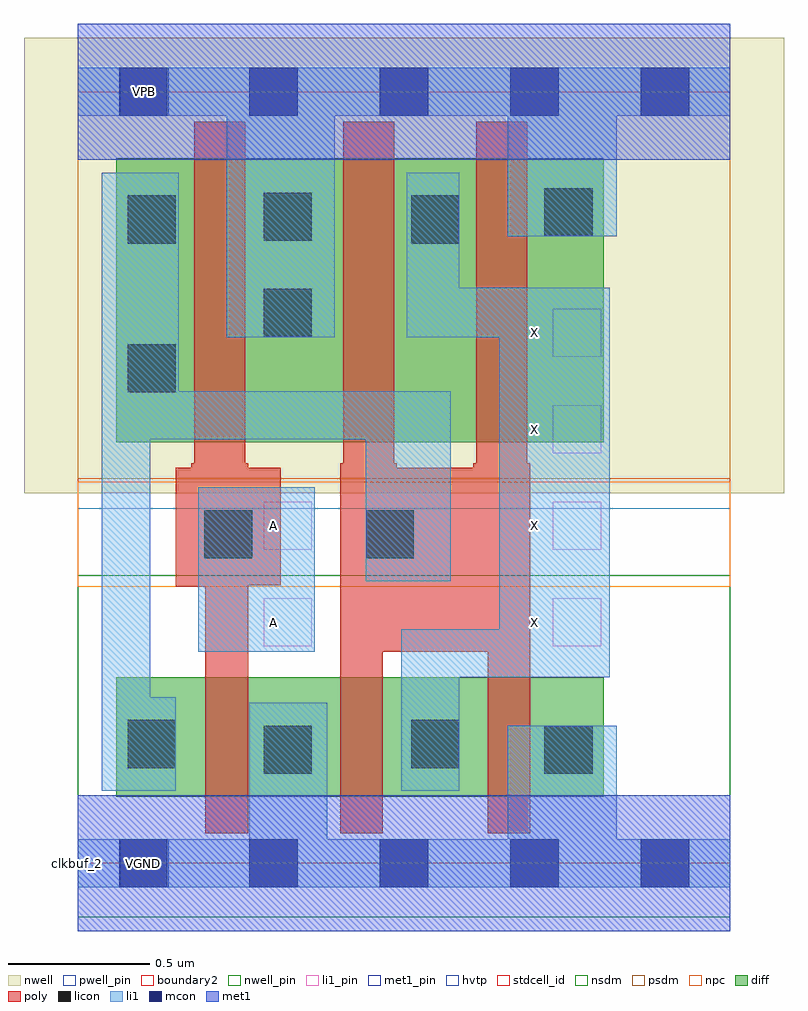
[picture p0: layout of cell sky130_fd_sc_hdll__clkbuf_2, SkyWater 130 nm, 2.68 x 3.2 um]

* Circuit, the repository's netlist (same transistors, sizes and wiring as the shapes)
* Copyright 2020 The SkyWater PDK Authors
*
* Licensed under the Apache License, Version 2.0 (the "License");
* you may not use this file except in compliance with the License.
* You may obtain a copy of the License at
*
*     https://www.apache.org/licenses/LICENSE-2.0
*
* Unless required by applicable law or agreed to in writing, software
* distributed under the License is distributed on an "AS IS" BASIS,
* WITHOUT WARRANTIES OR CONDITIONS OF ANY KIND, either express or implied.
* See the License for the specific language governing permissions and
* limitations under the License.
*
* SPDX-License-Identifier: Apache-2.0

.SUBCKT sky130_fd_sc_hdll__clkbuf_2 A VGND VNB VPB VPWR X
*.PININFO A:I VGND:I VNB:I VPB:I VPWR:I X:O
MMIN0 Ab A VGND VNB sky130_fd_pr__nfet_01v8 m=1 w=0.42U l=0.15U mult=1 sa=0.265
+ sb=0.265 sd=0.28 area=0.063 perim=1.14
MMIN1 X Ab VGND VNB sky130_fd_pr__nfet_01v8 m=2 w=0.42U l=0.15U mult=1 sa=0.265
+ sb=0.265 sd=0.28 area=0.063 perim=1.14
MMIP0 Ab A VPWR VPB sky130_fd_pr__pfet_01v8_hvt m=1 w=1.0U l=0.18U mult=1 sa=0.265
+ sb=0.265 sd=0.28 area=0.063 perim=1.14
MMIP1 X Ab VPWR VPB sky130_fd_pr__pfet_01v8_hvt m=2 w=1.0U l=0.18U mult=1 sa=0.265
+ sb=0.265 sd=0.28 area=0.063 perim=1.14
.ENDS sky130_fd_sc_hdll__clkbuf_2

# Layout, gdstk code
import gdstk
lib = gdstk.Library(unit=1e-6, precision=1e-09)
def R(c, l, rs):  # rectangles x0, y0, x1, y1
    for r in rs: c.add(gdstk.rectangle(r[:2], r[2:], *l))
def A(c, l, x, y, w, h, nx, ny, dx, dy):  # array of equal rectangles
    R(c, l, [(x+i*dx, y+j*dy, x+i*dx+w, y+j*dy+h) for i in range(nx) for j in range(ny)])
def P(c, l, *ps):  # polygons
    for p in ps: c.add(gdstk.Polygon(p, *l))
nwell_pin = (64, 16)
nwell = (64, 20)
diff = (65, 20)
poly = (66, 20)
licon = (66, 44)
li1_pin = (67, 16)
li1 = (67, 20)
mcon = (67, 44)
met1_pin = (68, 16)
met1 = (68, 20)
hvtp = (78, 44)
stdcell_id = (81, 4)
nsdm = (93, 44)
psdm = (94, 20)
npc = (95, 20)
pwell_pin = (122, 16)
boundary2 = (236, 0)

sky130_fd_sc_hdll__clkbu = lib.new_cell('sky130_fd_sc_hdll__clkbuf_2')
R(sky130_fd_sc_hdll__clkbu, nwell_pin, [(0.15,2.635,0.32,2.805)])
R(sky130_fd_sc_hdll__clkbu, nwell, [(-0.19,1.305,2.49,2.91)])
R(sky130_fd_sc_hdll__clkbu, diff, [(0.135,0.235,1.855,0.655), (0.135,1.485,1.855,2.485)])
P(sky130_fd_sc_hdll__clkbu, poly, [(1.595,1.41),(1.585,1.41),(1.585,2.615),(1.405,2.615),(1.405,1.41),(1.395,1.41),(1.395,1.395),(1.125,1.395),(1.125,1.41),(1.115,1.41),(1.115,2.615),(0.935,2.615),(0.935,1.41),(0.925,1.41),(0.925,0.105),(1.075,0.105),(1.075,0.745),(1.445,0.745),(1.445,0.105),(1.595,0.105)],
  [(0.715,1.395),(0.6,1.395),(0.6,1.41),(0.59,1.41),(0.59,2.615),(0.41,2.615),(0.41,1.41),(0.4,1.41),(0.4,1.395),(0.345,1.395),(0.345,0.975),(0.45,0.975),(0.45,0.105),(0.6,0.105),(0.6,0.98),(0.715,0.98)])
R(sky130_fd_sc_hdll__clkbu, licon, [(0.655,0.315,0.825,0.485), (1.645,0.315,1.815,0.485), (0.175,0.335,0.345,0.505), (1.175,0.335,1.345,0.505), (0.445,1.075,0.615,1.245), (1.015,1.075,1.185,1.245), (0.175,1.66,0.345,1.83), (0.655,1.855,0.825,2.025), (0.175,2.185,0.345,2.355), (1.175,2.185,1.345,2.355), (0.655,2.195,0.825,2.365), (1.645,2.21,1.815,2.38)])
A(sky130_fd_sc_hdll__clkbu, li1_pin, 1.675, 0.765, 0.17, 0.17, 1, 4, 0, 0.34)
R(sky130_fd_sc_hdll__clkbu, li1_pin, [(0.655,0.765,0.825,0.935), (0.655,1.105,0.825,1.275)])
R(sky130_fd_sc_hdll__clkbu, li1, [(0.425,0.745,0.835,1.325)])
P(sky130_fd_sc_hdll__clkbu, li1, [(1.315,1.665),(0.355,1.665),(0.355,2.435),(0.085,2.435),(0.085,0.255),(0.345,0.255),(0.345,0.585),(0.255,0.585),(0.255,1.495),(1.015,1.495),(1.015,0.995),(1.315,0.995)],
  [(1.875,2.03),(1.345,2.03),(1.345,2.435),(1.16,2.435),(1.16,1.855),(1.485,1.855),(1.485,0.825),(1.14,0.825),(1.14,0.255),(1.345,0.255),(1.345,0.655),(1.875,0.655)],
  [(2.3,2.805),(0,2.805),(0,2.635),(0.525,2.635),(0.525,1.855),(0.905,1.855),(0.905,2.635),(1.515,2.635),(1.515,2.21),(1.9,2.21),(1.9,2.635),(2.3,2.635)],
  [(2.3,0.085),(1.9,0.085),(1.9,0.485),(1.515,0.485),(1.515,0.085),(0.88,0.085),(0.88,0.565),(0.605,0.565),(0.605,0.085),(0,0.085),(0,-0.085),(2.3,-0.085)])
A(sky130_fd_sc_hdll__clkbu, mcon, 0.145, -0.085, 0.17, 0.17, 5, 2, 0.46, 2.72)
R(sky130_fd_sc_hdll__clkbu, met1_pin, [(0.15,-0.085,0.32,0.085), (0.15,2.635,0.32,2.805)])
R(sky130_fd_sc_hdll__clkbu, met1, [(0,-0.24,2.3,0.24), (0,2.48,2.3,2.96)])
R(sky130_fd_sc_hdll__clkbu, hvtp, [(0,1.25,2.3,2.72), (0,1.25,2.3,2.72), (0,1.25,2.3,2.72)])
R(sky130_fd_sc_hdll__clkbu, stdcell_id, [(0,0,2.3,2.72)])
R(sky130_fd_sc_hdll__clkbu, nsdm, [(0,-0.19,2.3,1.015)])
R(sky130_fd_sc_hdll__clkbu, psdm, [(0,1.355,2.3,2.91)])
R(sky130_fd_sc_hdll__clkbu, npc, [(0,0.975,2.3,1.345)])
R(sky130_fd_sc_hdll__clkbu, pwell_pin, [(0.15,-0.085,0.32,0.085)])
R(sky130_fd_sc_hdll__clkbu, boundary2, [(0,0,2.3,2.72)])
sky130_fd_sc_hdll__clkbu.add(gdstk.Label('VPB', (0.235,2.72), layer=64, texttype=5))
sky130_fd_sc_hdll__clkbu.add(gdstk.Label('VGND', (0.23,0), layer=68, texttype=5))
sky130_fd_sc_hdll__clkbu.add(gdstk.Label('VPWR', (0.23,2.72), layer=68, texttype=5))
sky130_fd_sc_hdll__clkbu.add(gdstk.Label('VNB', (0.235,0), layer=64, texttype=59))
sky130_fd_sc_hdll__clkbu.add(gdstk.Label('A', (0.69,0.85), layer=67, texttype=5))
sky130_fd_sc_hdll__clkbu.add(gdstk.Label('A', (0.69,1.19), layer=67, texttype=5))
sky130_fd_sc_hdll__clkbu.add(gdstk.Label('X', (1.61,1.19), layer=67, texttype=5))
sky130_fd_sc_hdll__clkbu.add(gdstk.Label('X', (1.61,0.85), layer=67, texttype=5))
sky130_fd_sc_hdll__clkbu.add(gdstk.Label('X', (1.61,1.53), layer=67, texttype=5))
sky130_fd_sc_hdll__clkbu.add(gdstk.Label('X', (1.61,1.87), layer=67, texttype=5))
sky130_fd_sc_hdll__clkbu.add(gdstk.Label('clkbuf_2', (0,0), layer=83, texttype=44))

lib.write_gds('sky130_fd_sc_hdll__clkbuf_2.gds')
